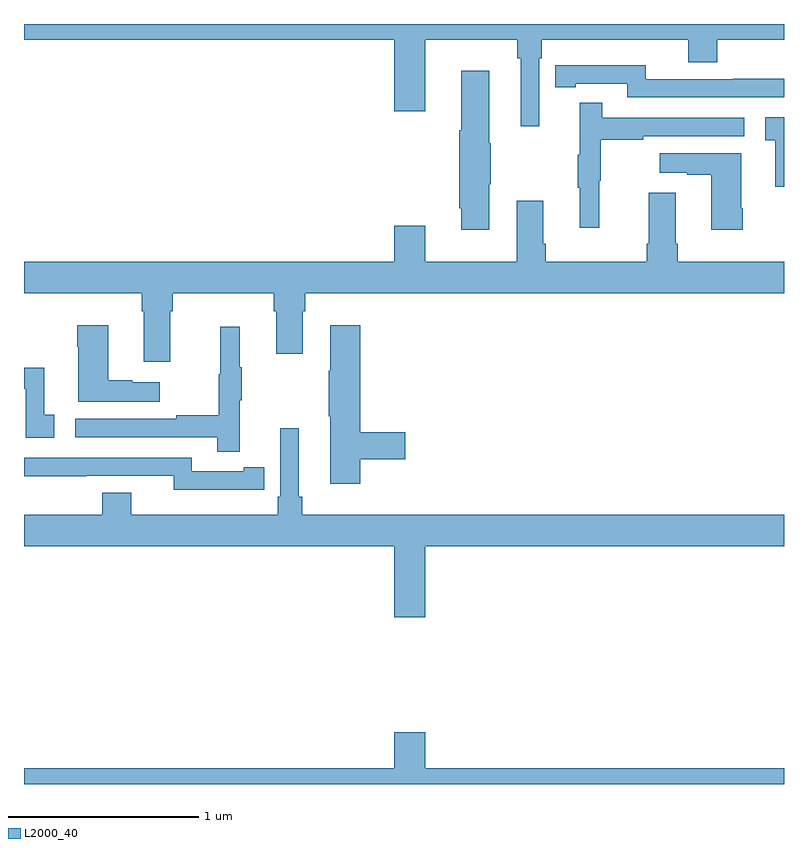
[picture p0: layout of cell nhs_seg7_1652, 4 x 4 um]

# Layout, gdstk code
import gdstk
lib = gdstk.Library(unit=1e-6, precision=1e-09)
def P(c, l, *ps):  # polygons
    for p in ps: c.add(gdstk.Polygon(p, *l))
L2000_40 = (2000, 40)

nhs_seg7_1652 = lib.new_cell('nhs_seg7_1652')
P(nhs_seg7_1652, L2000_40, [(227,1034),(223,1034),(223,1033.916),(224.948,1033.916),(224.948,1033.542),(225.112,1033.542),(225.112,1033.916),(225.595,1033.916),(225.595,1033.82),(225.614,1033.82),(225.614,1033.461),(225.711,1033.461),(225.711,1033.82),(225.725,1033.82),(225.725,1033.916),(226.496,1033.916),(226.496,1033.799),(226.649,1033.799),(226.649,1033.916),(227,1033.916)],
  [(227,1033.712),(226.732,1033.712),(226.732,1033.71),(226.272,1033.71),(226.272,1033.783),(225.904,1033.783),(225.904,1033.782),(225.796,1033.782),(225.796,1033.666),(225.904,1033.666),(225.904,1033.686),(226.176,1033.686),(226.176,1033.614),(227,1033.614)],
  [(225.448,1033.156),(225.456,1033.156),(225.456,1033.373),(225.448,1033.373),(225.448,1033.753),(225.302,1033.753),(225.302,1033.44),(225.29,1033.44),(225.29,1033.03),(225.302,1033.03),(225.302,1032.918),(225.448,1032.918)],
  [(226.028,1033.176),(226.036,1033.176),(226.036,1033.39),(226.259,1033.39),(226.259,1033.41),(226.792,1033.41),(226.792,1033.506),(226.043,1033.506),(226.043,1033.585),(225.926,1033.585),(225.926,1033.313),(225.915,1033.313),(225.915,1033.139),(225.926,1033.139),(225.926,1032.927),(226.028,1032.927)],
  [(227,1033.51),(226.902,1033.51),(226.902,1033.389),(226.955,1033.389),(226.955,1033.143),(227,1033.143)],
  [(226.782,1033.03),(226.774,1033.03),(226.774,1033.321),(226.347,1033.321),(226.347,1033.217),(226.49,1033.217),(226.49,1033.207),(226.616,1033.207),(226.616,1032.918),(226.782,1032.918)],
  [(223.771,1032.488),(223.784,1032.488),(223.784,1032.584),(224.315,1032.584),(224.315,1032.488),(224.327,1032.488),(224.327,1032.264),(224.467,1032.264),(224.467,1032.488),(224.48,1032.488),(224.48,1032.584),(227,1032.584),(227,1032.748),(226.442,1032.748),(226.442,1032.844),(226.429,1032.844),(226.429,1033.111),(226.289,1033.111),(226.289,1032.844),(226.277,1032.844),(226.277,1032.748),(225.746,1032.748),(225.746,1032.844),(225.733,1032.844),(225.733,1033.069),(225.593,1033.069),(225.593,1032.748),(225.112,1032.748),(225.112,1032.937),(224.948,1032.937),(224.948,1032.748),(223,1032.748),(223,1032.584),(223.619,1032.584),(223.619,1032.488),(223.631,1032.488),(223.631,1032.222),(223.771,1032.222)],
  [(224.771,1031.71),(225.007,1031.71),(225.007,1031.852),(224.771,1031.852),(224.771,1032.415),(224.612,1032.415),(224.612,1032.176),(224.605,1032.176),(224.605,1031.935),(224.612,1031.935),(224.612,1031.58),(224.771,1031.58)],
  [(223.714,1032.115),(223.571,1032.115),(223.571,1032.125),(223.444,1032.125),(223.444,1032.415),(223.279,1032.415),(223.279,1032.302),(223.286,1032.302),(223.286,1032.011),(223.714,1032.011)],
  [(224.135,1032.019),(224.146,1032.019),(224.146,1032.193),(224.135,1032.193),(224.135,1032.406),(224.032,1032.406),(224.032,1032.156),(224.025,1032.156),(224.025,1031.942),(223.801,1031.942),(223.801,1031.922),(223.269,1031.922),(223.269,1031.826),(224.017,1031.826),(224.017,1031.748),(224.135,1031.748)],
  [(223.159,1031.943),(223.106,1031.943),(223.106,1032.19),(223,1032.19),(223,1032.081),(223.008,1032.081),(223.008,1031.823),(223.159,1031.823)],
  [(224.948,1030.878),(225.112,1030.878),(225.112,1031.252),(227,1031.252),(227,1031.416),(224.465,1031.416),(224.465,1031.512),(224.446,1031.512),(224.446,1031.872),(224.349,1031.872),(224.349,1031.512),(224.336,1031.512),(224.336,1031.416),(223.564,1031.416),(223.564,1031.533),(223.412,1031.533),(223.412,1031.416),(223,1031.416),(223,1031.252),(224.948,1031.252)],
  [(224.156,1031.55),(224.264,1031.55),(224.264,1031.666),(224.156,1031.666),(224.156,1031.646),(223.884,1031.646),(223.884,1031.718),(223,1031.718),(223,1031.621),(223.328,1031.621),(223.328,1031.622),(223.788,1031.622),(223.788,1031.549),(224.156,1031.549)],
  [(227,1030.084),(225.112,1030.084),(225.112,1030.273),(224.948,1030.273),(224.948,1030.084),(223,1030.084),(223,1030),(227,1030)])

lib.write_gds('nhs_seg7_1652.gds')
